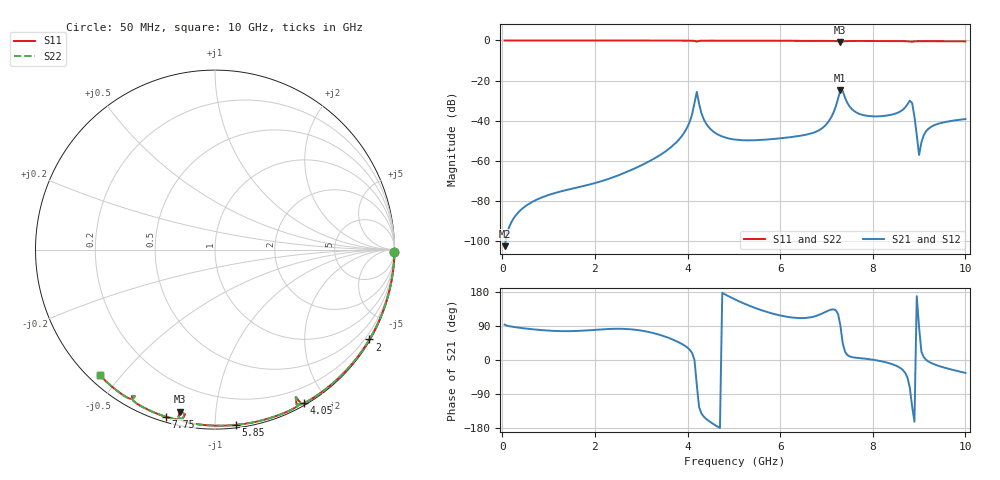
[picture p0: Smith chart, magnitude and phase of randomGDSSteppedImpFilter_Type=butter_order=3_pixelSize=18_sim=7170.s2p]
! freq	dB(S11)	phase(S11)	dB(S12)	phase(S12)
!  dB(S21)	phase(S21)	dB(S22)	phase(S22)
!S-par simulation data
#  GHz  S  DB  R 50
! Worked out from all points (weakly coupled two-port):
!   200 points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, 50 MHz to 10 GHz, reference 50 ohm
!   highest |S21| = -24.71 dB at 7.3 GHz (marker M1); lowest = -102.4 dB at 50 MHz (marker M2)
!   lowest |S11| = -0.7 dB at 7.3 GHz (marker M3), VSWR 25.09, Z = 3.28 - j40.2 ohm
!   |S11| at or under -10 dB: nowhere
!   |S22| runs from -0.7 to 0.0 dB; largest |S21 - S12| = 0
!   S11 on the Smith chart (normalised r, x): 50 MHz: open; 2 GHz: 0.03, -3.71; 4.05 GHz: 0.02, -1.73; 5.85 GHz: 0.02, -1.12; 7.75 GHz: 0.02, -0.75; 10 GHz: 0.03, -0.44
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0.05  -0.00 -0.8  -102.35 93.4  -102.35 93.4  -0.00 -0.8
1.75  -0.03 -26.5  -72.44 77.5  -72.44 77.5  -0.03 -26.5
2  -0.04 -30.2  -70.96 79.5  -70.96 79.5  -0.04 -30.2
3.4  -0.07 -50.5  -57.09 66.4  -57.09 66.4  -0.07 -50.5
3.8  -0.08 -56.2  -49.70 47.4  -49.70 47.4  -0.08 -56.2
4.05  -0.10 -60.0  -40.29 26.7  -40.29 26.7  -0.10 -60.0
4.2  -0.57 -61.3  -25.61 -65.8  -25.61 -65.8  -0.57 -61.3
4.3  -0.13 -62.0  -36.20 -140.9  -36.20 -140.9  -0.13 -62.0
4.45  -0.10 -64.5  -42.93 -160.0  -42.93 -160.0  -0.10 -64.5
5.05  -0.11 -72.8  -49.37 158.4  -49.37 158.4  -0.11 -72.8
5.85  -0.14 -83.3  -49.03 122.0  -49.03 122.0  -0.14 -83.3
6.7  -0.19 -94.2  -46.05 113.7  -46.05 113.7  -0.19 -94.2
7.05  -0.22 -98.8  -40.18 130.9  -40.18 130.9  -0.22 -98.8
7.3  -0.69 -102.3  -24.71 91.8  -24.71 91.8  -0.70 -102.3
7.5  -0.27 -102.7  -32.87 9.5  -32.87 9.5  -0.27 -102.7
7.75  -0.26 -106.2  -36.85 4.6  -36.85 4.6  -0.26 -106.3
8.35  -0.30 -113.7  -37.19 -8.4  -37.19 -8.4  -0.30 -113.7
8.85  -0.62 -118.6  -31.19 -122.9  -31.19 -122.9  -0.62 -118.6
9  -0.37 -120.5  -56.97 85.8  -56.97 85.8  -0.37 -120.5
9.1  -0.36 -121.8  -47.14 7.6  -47.14 7.6  -0.36 -121.9
9.2  -0.37 -123.1  -43.98 -3.8  -43.98 -3.8  -0.37 -123.1
10  -0.45 -132.6  -39.10 -34.0  -39.10 -34.0  -0.45 -132.6
